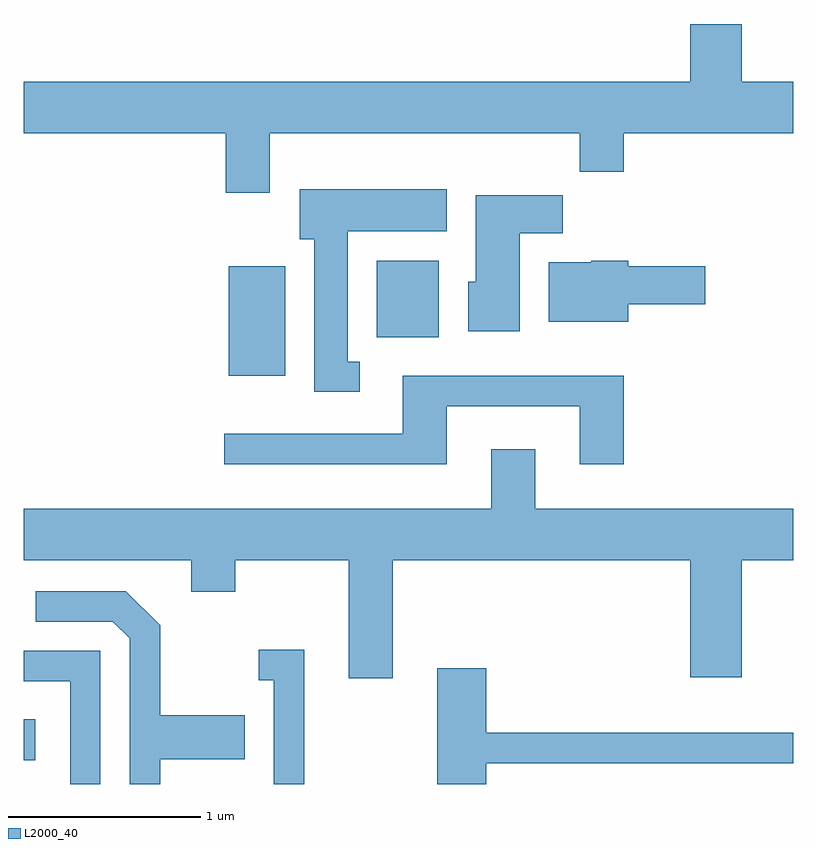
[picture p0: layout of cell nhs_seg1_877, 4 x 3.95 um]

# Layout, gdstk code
import gdstk
lib = gdstk.Library(unit=1e-6, precision=1e-09)
def R(c, l, rs):  # rectangles x0, y0, x1, y1
    for r in rs: c.add(gdstk.rectangle(r[:2], r[2:], *l))
def P(c, l, *ps):  # polygons
    for p in ps: c.add(gdstk.Polygon(p, *l))
L2000_40 = (2000, 40)

nhs_seg1_877 = lib.new_cell('nhs_seg1_877')
R(nhs_seg1_877, L2000_40, [(211.611,931.836,211.669,932.049), (212.676,933.836,212.969,934.404), (213.446,934.036,213.769,934.434)])
P(nhs_seg1_877, L2000_40, [(212.889,935.096),(214.501,935.096),(214.501,934.896),(214.729,934.896),(214.729,935.096),(215.611,935.096),(215.611,935.364),(215.344,935.364),(215.344,935.664),(215.076,935.664),(215.076,935.364),(211.611,935.364),(211.611,935.096),(212.661,935.096),(212.661,934.786),(212.889,934.786)],
  [(213.358,933.909),(213.294,933.909),(213.294,934.586),(213.809,934.586),(213.809,934.804),(213.046,934.804),(213.046,934.546),(213.121,934.546),(213.121,933.751),(213.358,933.751)],
  [(214.189,934.576),(214.414,934.576),(214.414,934.774),(213.961,934.774),(213.961,934.324),(213.921,934.324),(213.921,934.066),(214.189,934.066)],
  [(214.754,934.206),(215.154,934.206),(215.154,934.404),(214.754,934.404),(214.754,934.434),(214.56,934.434),(214.56,934.424),(214.341,934.424),(214.341,934.116),(214.754,934.116)],
  [(213.809,933.676),(214.501,933.676),(214.501,933.376),(214.729,933.376),(214.729,933.834),(213.581,933.834),(213.581,933.534),(212.653,933.534),(212.653,933.376),(213.809,933.376)],
  [(213.529,932.876),(215.076,932.876),(215.076,932.266),(215.344,932.266),(215.344,932.876),(215.611,932.876),(215.611,933.144),(214.269,933.144),(214.269,933.454),(214.041,933.454),(214.041,933.144),(211.611,933.144),(211.611,932.876),(212.481,932.876),(212.481,932.711),(212.709,932.711),(212.709,932.876),(213.301,932.876),(213.301,932.261),(213.529,932.261)],
  [(212.319,931.841),(212.759,931.841),(212.759,932.069),(212.319,932.069),(212.319,932.537),(212.142,932.714),(211.673,932.714),(211.673,932.556),(212.074,932.556),(212.161,932.469),(212.161,931.712),(212.319,931.712)],
  [(213.069,932.409),(212.833,932.409),(212.833,932.251),(212.911,932.251),(212.911,931.712),(213.069,931.712)],
  [(212.009,932.404),(211.611,932.404),(211.611,932.246),(211.851,932.246),(211.851,931.712),(212.009,931.712)],
  [(214.014,931.821),(215.611,931.821),(215.611,931.979),(214.014,931.979),(214.014,932.314),(213.761,932.314),(213.761,931.712),(214.014,931.712)])

lib.write_gds('nhs_seg1_877.gds')
